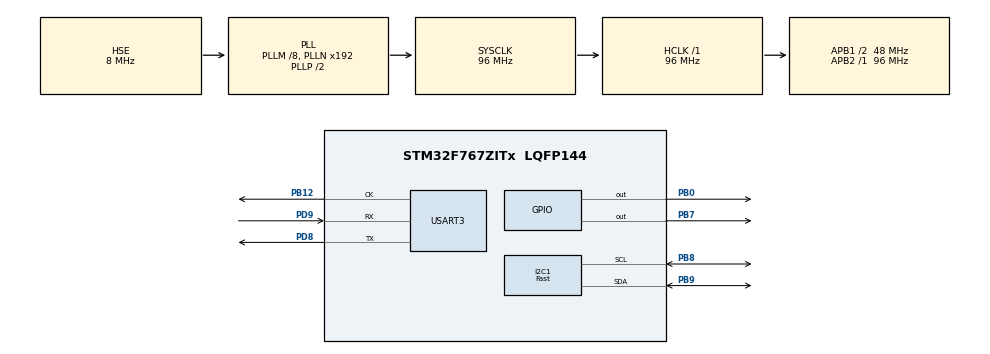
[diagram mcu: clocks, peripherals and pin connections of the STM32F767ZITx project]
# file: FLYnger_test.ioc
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I2C1.I2C_Speed_Mode=I2C_Fast
I2C1.Timing=0x2010091A
Mcu.Family=STM32F7
Mcu.Name=STM32F767ZITx
Mcu.Package=LQFP144
NVIC.PriorityGroup=NVIC_PRIORITYGROUP_4
PB0.Signal=GPIO_Output
PB12.Mode=Synchronous
PB12.Signal=USART3_CK
PB7.Signal=GPIO_Output
PB8.Mode=I2C
PB8.Signal=I2C1_SCL
PB9.Mode=I2C
PB9.Signal=I2C1_SDA
PC14/OSC32_IN.Mode=LSE-External-Oscillator
PC14/OSC32_IN.Signal=RCC_OSC32_IN
PC15/OSC32_OUT.Mode=LSE-External-Oscillator
PC15/OSC32_OUT.Signal=RCC_OSC32_OUT
PD8.Mode=Synchronous
PD8.Signal=USART3_TX
PD9.Mode=Synchronous
PD9.Signal=USART3_RX
PH0/OSC_IN.Mode=HSE-External-Clock-Source
PH0/OSC_IN.Signal=RCC_OSC_IN
PH1/OSC_OUT.Mode=HSE-External-Clock-Source
PH1/OSC_OUT.Signal=RCC_OSC_OUT
ProjectManager.HeapSize=0x200
ProjectManager.StackSize=0x400
ProjectManager.TargetToolchain=STM32CubeIDE
RCC.AHBFreq_Value=96000000
RCC.APB1CLKDivider=RCC_HCLK_DIV2
RCC.APB1Freq_Value=48000000
RCC.APB1TimFreq_Value=96000000
RCC.APB2Freq_Value=96000000
RCC.APB2TimFreq_Value=96000000
RCC.CortexFreq_Value=96000000
RCC.HCLKFreq_Value=96000000
RCC.HSE_VALUE=8000000
RCC.HSI_VALUE=16000000
RCC.PLLM=8
RCC.PLLQ=4
RCC.PLLSAIP=RCC_PLLSAIP_DIV4
RCC.PLLSourceVirtual=RCC_PLLSOURCE_HSE
RCC.SYSCLKFreq_VALUE=96000000
RCC.SYSCLKSource=RCC_SYSCLKSOURCE_PLLCLK
RCC.USBFreq_Value=48000000
RCC.VCOOutputFreq_Value=192000000
TIM1.Period=65000
TIM1.Prescaler=96
USART3.VirtualMode-Synchronous=VM_SYNC
VP_TIM1_VS_ClockSourceINT.Mode=Internal
board=custom

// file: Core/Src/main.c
/* USER CODE BEGIN Header */
/**
  ******************************************************************************
  * @file           : main.c
  * @brief          : Main program body
  ******************************************************************************
  * @attention
  *
  * <h2><center>&copy; Copyright (c) 2020 STMicroelectronics.
  * All rights reserved.</center></h2>
  *
  * This software component is licensed by ST under BSD 3-Clause license,
  * the "License"; You may not use this file except in compliance with the
  * License. You may obtain a copy of the License at:
  *                        opensource.org/licenses/BSD-3-Clause
  *
  ******************************************************************************
  */

//CODICE USATO PER ESTRARRE DATI DA UN SENSORE I2C (GIROSCOPIO)

/* USER CODE END Header */

#include "main.h"

/* USER CODE BEGIN Includes */
#include <string.h> // per riconoscere le funzioni sulle stringhe
#include <stdio.h>
/* USER CODE END Includes */

I2C_HandleTypeDef hi2c1;

USART_HandleTypeDef husart3;

/* USER CODE BEGIN PV */

//Indirizzo del sensore inerziale 9-axis BMX160
static const uint8_t BMX160Address=0x68<<1; //lo shift a destra serve per lasciare spazio al bit di READ/WRITE
static const uint8_t GyroDataRegister[6]={0x0C, 0x0D, 0x0E, 0x0F, 0x10, 0x11}; //i sei registri di dati vanno da LSB a MSB da X a Z
static const uint8_t GyroConfRegister=0x42; //registro di configurazione del giroscopio
static const uint8_t AccConfRegister=0x40; //registro di configurazione dell' accelerometro
static const uint8_t CMD=0x7E; //Power modes register
//static const uint8_t GyroRangeRegister=0x43; //registro di configurazione del range del giroscopio

//Constants utilities
static const float k_toLPFprevSamp_Data=0.5333; //constant to LPF previous sample data
static const float k_toRaw_Data=0.2334; //constant to raw data for filter

/* USER CODE END PV */

void SystemClock_Config(void);
static void MX_GPIO_Init(void);
static void MX_USART3_Init(void);
static void MX_I2C1_Init(void);
static void MX_TIM1_Init(void);

int main(void)
{
  /* USER CODE BEGIN 1 */

	//Inizializzazione di una variabile ret che detenga il valore di ritorno delle funzioni di trasmissione e ricezione per controllo
	HAL_StatusTypeDef ret;

	//Variabil dal giroscopio
	uint8_t BMX_buff[12];//sono 12 byte: da LSB a MSB da X a Z SIA DI GYRO CHE DI ACC

	int16_t Gyr_Data[3]; //variabile con segno dove vengono salvati  dati completi a 16 bit del giroscopio

	float Omega[3];//3 componenti di velocità angolare con segno in virgola mobile
	float Omega_1[3]={0, 0, 0};// dato raw al sample precedente
	float OmegaLPF[3];//dato filtrato sample attuale
	float OmegaLPF_1[3]={0, 0, 0};//dato filtrato sample precedente
	float Gyr_cal[3]={0, 0, 0}; //Three constant evaluated in every start up to calibrate the gyro
	uint16_t i_gyro_cal; //initialize a counter i for cycles

    //Variabili dell'accelerometro
	int16_t Acc_Data[3]; //variabile con segno dove vengono salvati  dati completi a 16 bit del giroscopio

	float Acc[3];//3 componenti di velocità angolare con segno in virgola mobile |||| dato raw al sample attuale
	float Acc_1[3]={0, 0, 0};// dato raw al sample precedente
	float AccLPF[3];//dato filtrato sample attuale
	float AccLPF_1[3]={0, 0, 0};//dato filtrato sample precedente
	float Acc_cal[3]={0, 0, 0}; //Three constant evaluated in every start up to calibrate the gyro

	float BMX_Tx_LPF_buff[6]; //buffer to store Gyro and ACC values to send via usart
	//type casting for this variable will be executed in the Uart TX function only on the pointer, so to maitain the bit sequence iltere by the software

	uint16_t counter = 1; //Counter to toggle the led in functioning
	uint8_t i; //generic counter utility for loops in code

	uint8_t buff[32];

  /* USER CODE END 1 */

  /* MCU Configuration--------------------------------------------------------*/

  /* Reset of all peripherals, Initializes the Flash interface and the Systick. */
  HAL_Init();

  /* Configure the system clock */
  SystemClock_Config();

  /* Initialize all configured peripherals */
  MX_GPIO_Init();
  MX_USART3_Init();
  MX_I2C1_Init();
  MX_TIM1_Init();
  /* USER CODE BEGIN 2 */

  /* LED EXPLANATION
   * # GREEN LED SOLID: initialization and calibration status;
   * # BLUE LED BLINKIING (1 Hz): normal runtime of control loop.
   */

  HAL_GPIO_TogglePin(GPIOB, GPIO_PIN_0); //turn on green LED for the initialization

  HAL_Delay(10);

  /*######### BMX160 CONFIGURATION##########*/

    //codice per inizializzare e configurare il giroscopio
	buff[0]=GyroConfRegister;//invio l'indirizzo del configuratore del giroscopio
	buff[1]=0b00011100;//set the Gyro conf register (see the red notebook page 10)
	HAL_I2C_Master_Transmit(&hi2c1, BMX160Address, buff, 2, HAL_MAX_DELAY);

	//codice per inizializzare e configurare l'accelerometro
	buff[0]=AccConfRegister;//invio l'indirizzo del configuratore dell' accelerometro
	buff[1]=0b00101100;//set the Acc conf register
	ret = HAL_I2C_Master_Transmit(&hi2c1, BMX160Address, buff, 2, HAL_MAX_DELAY);

	//codice per configurare il range dell'accelerometro
	buff[0]=0x41;//invio l'indirizzo del configuratore del range
	buff[1]=0b00001000;//set the Acc range register (see the red notebook appropriate page)
	ret = HAL_I2C_Master_Transmit(&hi2c1, BMX160Address, buff, 2, HAL_MAX_DELAY);

    HAL_Delay(800);

	//change the power mode to normal for the gyro
	buff[0]=CMD;
    buff[1]=0x15;//command for normal mode for gyro;
	HAL_I2C_Master_Transmit(&hi2c1, BMX160Address, buff, 2, HAL_MAX_DELAY);

	//change the power mode to normal for the Acc see appropriate page of the notebook
	buff[0]=CMD;
	buff[1]=0x11;//command for normal mode for accelerometer;
	ret = HAL_I2C_Master_Transmit(&hi2c1, BMX160Address, buff, 2, HAL_MAX_DELAY);

	/*###########us timer enabling (counter)#############*/

	LL_TIM_EnableCounter(TIM1); //func to enable the counter based on TIM1 with microseconds tick
	LL_TIM_SetCounter(TIM1,0);  //func to set set counter to 0value

	HAL_Delay(1000);

	/* ###### BMX CALIBRATION #######
	 *
	 * Calibration is performed polling data for 1000 times
	 *  with 1ms sample time: then an average value is
	 *  calculated and subtracted to the non filtered measures
	 *  taken during functioning
	 *
	 */

	for (i_gyro_cal=0; i_gyro_cal<1000; i_gyro_cal++) {

		LL_TIM_SetCounter(TIM1,0);

		buff[0]=GyroDataRegister[0];
		  HAL_I2C_Master_Transmit(&hi2c1, BMX160Address, buff, 1, HAL_MAX_DELAY); //transmitting 1 byte with the register of the LSBx
		  HAL_I2C_Master_Receive(&hi2c1, BMX160Address, BMX_buff, 12, HAL_MAX_DELAY);// looking for the data bytes asked

		  //GYRO CALIBRATION

		  Gyr_Data[0]=((int16_t)BMX_buff[1]) << 8 | (BMX_buff[0]);  //X Raw (signed int)

		  Gyr_Data[1]=((int16_t)BMX_buff[3]) << 8 | (BMX_buff[2]);  //Y Raw

		  Gyr_Data[2]=((int16_t)BMX_buff[5]) << 8 | (BMX_buff[4]);  //Z Raw

		  Omega[0]=(float)Gyr_Data[0] * 0.0610351562;  //obtaining data dividing for MAX signed value and multiplying for the scale
		  Omega[1]=(float)Gyr_Data[1] * 0.0610351562;
		  Omega[2]=(float)Gyr_Data[2] * 0.0610351562;

		  Gyr_cal[0] += Omega[0];
		  Gyr_cal[1] += Omega[1];
		  Gyr_cal[2] += Omega[2];

		  //ACCELEROMETER

		  Acc_Data[0]=((int16_t)BMX_buff[7]) << 8 | (BMX_buff[6]); //same as gyro

		  Acc_Data[1]=((int16_t)BMX_buff[9]) << 8 | (BMX_buff[8]);

		  Acc_Data[2]=((int16_t)BMX_buff[11]) << 8 | (BMX_buff[10]);

		  Acc[0]= (float)Acc_Data[0] * 8 / 32768; //Conversion=8/32768 to obtain data in g
		  Acc[1]= (float)Acc_Data[1] * 8 / 32768;
		  Acc[2]= (float)Acc_Data[2] * 8 / 32768 - 1; //added 1 because the z axis detect the 1 g gravity acceleration but calibration is done on the errors

		  Acc_cal[0] += Acc[0];
		  Acc_cal[1] += Acc[1];
		  Acc_cal[2] += Acc[2];

		  while (LL_TIM_GetCounter(TIM1)<1000)	{

		  }

	}

	Gyr_cal[0] = Gyr_cal[0]/1000;
	Gyr_cal[1] = Gyr_cal[1]/1000;
	Gyr_cal[2] = Gyr_cal[2]/1000;

	Acc_cal[0] = Acc_cal[0]/1000;
    Acc_cal[1] = Acc_cal[1]/1000;
    Acc_cal[2] = Acc_cal[2]/1000;

    //END OF CONFIGURATION AND SETUP

	HAL_GPIO_TogglePin(GPIOB, GPIO_PIN_0); //turn off green LED

	HAL_GPIO_TogglePin(GPIOB, GPIO_PIN_7);//Toggle pinB7 to see it blink every second blue LED

  /* USER CODE END 2 */

  /* Infinite loop */
  /* USER CODE BEGIN WHILE */
  while (1)
  {

	  LL_TIM_SetCounter(TIM1,0); //us counter set

	  //blue LED blinking control (toggle every second) ###### counter>1/sampleTime
	  if(counter>100){

		  counter=1;

		  HAL_GPIO_TogglePin(GPIOB, GPIO_PIN_7);//Toggle pinB7 to see it blink every second

	  }

	  /*#################################
	   * GYRO DATA ACQUISITION AND ELABORATION
	   * 1) Get raw data and store in Gyro buffer;
	   * 2) Composition of the 2byte data and scaling to obtain deg/s (or g for accelerometer) float (32 bits) number;
	   * 3) Filtering the float data via a discrete LPF (sample time and c.o. freq. specified below);
	   * 4) Data utilization.
	   ##################################*/

	  //first is sent the bmx address with the register of the first data
	  buff[0]=GyroDataRegister[0];
	  HAL_I2C_Master_Transmit(&hi2c1, BMX160Address, buff, 1, HAL_MAX_DELAY); //transmitting 1 byte with the register of the LSBx
	  HAL_I2C_Master_Receive(&hi2c1, BMX160Address, BMX_buff, 12, HAL_MAX_DELAY);// looking for the data bytes asked

	  /* BMX_buff[0]=buff[0]; //X-LSB
	  BMX_buff[1]; //X-MSB
	  BMX_buff[2]; //Y-LSB
	  BMX_buff[3]; //Y-MSB
	  BMX_buff[4]; //Z-LSB
	  BMX_buff[5]; //Z-MSB */

	  /*This function take all the registers of the gyro just asking for the first one
	   * because the gyro automatically switch to next data register and send its content
	   * if it receives an ACK from master in Rx mode. Here the master sends the address and
	   * the first data register and ACK the next 6 bytes so the gyro continues to send data*/

	  //dividing the bytes

	  //now let's do the conversion to get a data in degrees per second

	  Gyr_Data[0]=((int16_t)BMX_buff[1]) << 8 | (BMX_buff[0]);  //X Raw (signed int)

	  Gyr_Data[1]=((int16_t)BMX_buff[3]) << 8 | (BMX_buff[2]);  //Y Raw

	  Gyr_Data[2]=((int16_t)BMX_buff[5]) << 8 | (BMX_buff[4]);  //Z Raw

	  Omega[0]=((float)Gyr_Data[0] * 0.0610351562) - Gyr_cal[0];  //obtaining data dividing for MAX signed value and multiplying for the scale
	  Omega[1]=((float)Gyr_Data[1] * 0.0610351562) - Gyr_cal[1];
	  Omega[2]=((float)Gyr_Data[2] * 0.0610351562) - Gyr_cal[2];

	  /*LPF specs:
	   * 1) Sample time Ts=0.01s (10 ms);
	   * 2) Cut off frequency selected is 10 Hz.
	   */

	  OmegaLPF[0]= k_toLPFprevSamp_Data * OmegaLPF_1[0] + k_toRaw_Data * (Omega[0] + Omega_1[0]); //LPFed data by discrete function see notebook p 11
      OmegaLPF[1]= k_toLPFprevSamp_Data * OmegaLPF_1[1] + k_toRaw_Data * (Omega[1] + Omega_1[1]);
	  OmegaLPF[2]= k_toLPFprevSamp_Data * OmegaLPF_1[2] + k_toRaw_Data * (Omega[2] + Omega_1[2]);

	  //COLLECTING DATA FOR ACCELEROMETER

	  Acc_Data[0]=((int16_t)BMX_buff[7]) << 8 | (BMX_buff[6]); //same as gyro

	  Acc_Data[1]=((int16_t)BMX_buff[9]) << 8 | (BMX_buff[8]);

	  Acc_Data[2]=((int16_t)BMX_buff[11]) << 8 | (BMX_buff[10]);

	  Acc[0]= (float)Acc_Data[0] * 8 / 32768 - Acc_cal[0]; //Conversion=8/32768 and also subtrating calibration data
	  Acc[1]= (float)Acc_Data[1] * 8 / 32768 - Acc_cal[1]; //Conversion is done to obtain data in g unit (1g=9.81 m/s^2)
	  Acc[2]= (float)Acc_Data[2] * 8 / 32768 - Acc_cal[2];

	  //ACCELEROMETER FILTER (SAME AS GYRO)
	  AccLPF[0]= k_toLPFprevSamp_Data * AccLPF_1[0] + k_toRaw_Data * (Acc[0] + Acc_1[0]); //LPFed data by discrete function see notebook p 11
	  AccLPF[1]= k_toLPFprevSamp_Data * AccLPF_1[1] + k_toRaw_Data * (Acc[1] + Acc_1[1]);
	  AccLPF[2]= k_toLPFprevSamp_Data * AccLPF_1[2] + k_toRaw_Data * (Acc[2] + Acc_1[2]);

	  //sending data to check the filtering on matlab: data is sent raw from gyro buff and elaborated on the reciever machine

	  //HAL_USART_Transmit(&husart3, BMX_buff, 12, HAL_MAX_DELAY); //transmit via serial port first 12 bytes in BMX_buff to operate on MATLAB

	  //loop to fill the BMX filtered data
	  for (i=0; i<6; i++) {
		  if (i<3)
			  *(BMX_Tx_LPF_buff+i) = *(OmegaLPF+i);
		  else
			  *(BMX_Tx_LPF_buff+i) = *(AccLPF+i-3);
	  }

	  HAL_USART_Transmit(&husart3, (uint8_t*)BMX_Tx_LPF_buff, 24, HAL_MAX_DELAY); // Tx 12 bytes of GYRO and 12 bytes ACC filtered->float number directly transmitted

	  //Refreshing of Gyro data store (data at preceding sample must be used before this passage)

	  Omega_1[0]=Omega[0];
	  Omega_1[1]=Omega[1];
	  Omega_1[2]=Omega[2];

	  OmegaLPF_1[0]=OmegaLPF[0];
	  OmegaLPF_1[1]=OmegaLPF[1];
	  OmegaLPF_1[2]=OmegaLPF[2];

	  Acc_1[0]=Acc[0];
	  Acc_1[1]=Acc[1];
	  Acc_1[2]=Acc[2];

	  AccLPF_1[0]=AccLPF[0];
	  AccLPF_1[1]=AccLPF[1];
	  AccLPF_1[2]=AccLPF[2];

	  counter=counter+1;//update the counter value

	  //Function to create the 10ms loop

	  while( LL_TIM_GetCounter(TIM1)<10000){

	  	  }

    /* USER CODE END WHILE */

  }
}

void SystemClock_Config(void)
{
  RCC_OscInitTypeDef RCC_OscInitStruct = {0};
  RCC_ClkInitTypeDef RCC_ClkInitStruct = {0};
  RCC_PeriphCLKInitTypeDef PeriphClkInitStruct = {0};

  /** Configure LSE Drive Capability
  */
  HAL_PWR_EnableBkUpAccess();
  /** Configure the main internal regulator output voltage
  */
  __HAL_RCC_PWR_CLK_ENABLE();
  __HAL_PWR_VOLTAGESCALING_CONFIG(PWR_REGULATOR_VOLTAGE_SCALE3);
  /** Initializes the CPU, AHB and APB busses clocks
  */
  RCC_OscInitStruct.OscillatorType = RCC_OSCILLATORTYPE_HSE;
  RCC_OscInitStruct.HSEState = RCC_HSE_BYPASS;
  RCC_OscInitStruct.PLL.PLLState = RCC_PLL_ON;
  RCC_OscInitStruct.PLL.PLLSource = RCC_PLLSOURCE_HSE;
  RCC_OscInitStruct.PLL.PLLM = 8;
  RCC_OscInitStruct.PLL.PLLN = 192;
  RCC_OscInitStruct.PLL.PLLP = RCC_PLLP_DIV2;
  RCC_OscInitStruct.PLL.PLLQ = 4;
  if (HAL_RCC_OscConfig(&RCC_OscInitStruct) != HAL_OK)
  {
    Error_Handler();
  }
  /** Activate the Over-Drive mode
  */
  if (HAL_PWREx_EnableOverDrive() != HAL_OK)
  {
    Error_Handler();
  }
  /** Initializes the CPU, AHB and APB busses clocks
  */
  RCC_ClkInitStruct.ClockType = RCC_CLOCKTYPE_HCLK|RCC_CLOCKTYPE_SYSCLK
                              |RCC_CLOCKTYPE_PCLK1|RCC_CLOCKTYPE_PCLK2;
  RCC_ClkInitStruct.SYSCLKSource = RCC_SYSCLKSOURCE_PLLCLK;
  RCC_ClkInitStruct.AHBCLKDivider = RCC_SYSCLK_DIV1;
  RCC_ClkInitStruct.APB1CLKDivider = RCC_HCLK_DIV2;
  RCC_ClkInitStruct.APB2CLKDivider = RCC_HCLK_DIV1;

  if (HAL_RCC_ClockConfig(&RCC_ClkInitStruct, FLASH_LATENCY_3) != HAL_OK)
  {
    Error_Handler();
  }
  PeriphClkInitStruct.PeriphClockSelection = RCC_PERIPHCLK_USART3|RCC_PERIPHCLK_I2C1;
  PeriphClkInitStruct.Usart3ClockSelection = RCC_USART3CLKSOURCE_PCLK1;
  PeriphClkInitStruct.I2c1ClockSelection = RCC_I2C1CLKSOURCE_PCLK1;
  if (HAL_RCCEx_PeriphCLKConfig(&PeriphClkInitStruct) != HAL_OK)
  {
    Error_Handler();
  }
}

static void MX_I2C1_Init(void)
{

  hi2c1.Instance = I2C1;
  hi2c1.Init.Timing = 0x2010091A;
  hi2c1.Init.OwnAddress1 = 0;
  hi2c1.Init.AddressingMode = I2C_ADDRESSINGMODE_7BIT;
  hi2c1.Init.DualAddressMode = I2C_DUALADDRESS_DISABLE;
  hi2c1.Init.OwnAddress2 = 0;
  hi2c1.Init.OwnAddress2Masks = I2C_OA2_NOMASK;
  hi2c1.Init.GeneralCallMode = I2C_GENERALCALL_DISABLE;
  hi2c1.Init.NoStretchMode = I2C_NOSTRETCH_DISABLE;
  if (HAL_I2C_Init(&hi2c1) != HAL_OK)
  {
    Error_Handler();
  }
  /** Configure Analogue filter
  */
  if (HAL_I2CEx_ConfigAnalogFilter(&hi2c1, I2C_ANALOGFILTER_ENABLE) != HAL_OK)
  {
    Error_Handler();
  }
  /** Configure Digital filter
  */
  if (HAL_I2CEx_ConfigDigitalFilter(&hi2c1, 0) != HAL_OK)
  {
    Error_Handler();
  }

}

static void MX_TIM1_Init(void)
{

  LL_TIM_InitTypeDef TIM_InitStruct = {0};

  /* Peripheral clock enable */
  LL_APB2_GRP1_EnableClock(LL_APB2_GRP1_PERIPH_TIM1);

  TIM_InitStruct.Prescaler = 96;
  TIM_InitStruct.CounterMode = LL_TIM_COUNTERMODE_UP;
  TIM_InitStruct.Autoreload = 65000;
  TIM_InitStruct.ClockDivision = LL_TIM_CLOCKDIVISION_DIV1;
  TIM_InitStruct.RepetitionCounter = 0;
  LL_TIM_Init(TIM1, &TIM_InitStruct);
  LL_TIM_DisableARRPreload(TIM1);
  LL_TIM_SetClockSource(TIM1, LL_TIM_CLOCKSOURCE_INTERNAL);
  LL_TIM_SetTriggerOutput(TIM1, LL_TIM_TRGO_RESET);
  LL_TIM_SetTriggerOutput2(TIM1, LL_TIM_TRGO2_RESET);
  LL_TIM_DisableMasterSlaveMode(TIM1);

}

static void MX_USART3_Init(void)
{

  husart3.Instance = USART3;
  husart3.Init.BaudRate = 115200;
  husart3.Init.WordLength = USART_WORDLENGTH_8B;
  husart3.Init.StopBits = USART_STOPBITS_1;
  husart3.Init.Parity = USART_PARITY_NONE;
  husart3.Init.Mode = USART_MODE_TX_RX;
  husart3.Init.CLKPolarity = USART_POLARITY_LOW;
  husart3.Init.CLKPhase = USART_PHASE_1EDGE;
  husart3.Init.CLKLastBit = USART_LASTBIT_DISABLE;
  if (HAL_USART_Init(&husart3) != HAL_OK)
  {
    Error_Handler();
  }

}

static void MX_GPIO_Init(void)
{
  GPIO_InitTypeDef GPIO_InitStruct = {0};

  /* GPIO Ports Clock Enable */
  __HAL_RCC_GPIOC_CLK_ENABLE();
  __HAL_RCC_GPIOH_CLK_ENABLE();
  __HAL_RCC_GPIOB_CLK_ENABLE();
  __HAL_RCC_GPIOD_CLK_ENABLE();

  /*Configure GPIO pin Output Level */
  HAL_GPIO_WritePin(GPIOB, GPIO_PIN_0|GPIO_PIN_7, GPIO_PIN_RESET);

  /*Configure GPIO pins : PB0 PB7 */
  GPIO_InitStruct.Pin = GPIO_PIN_0|GPIO_PIN_7;
  GPIO_InitStruct.Mode = GPIO_MODE_OUTPUT_PP;
  GPIO_InitStruct.Pull = GPIO_NOPULL;
  GPIO_InitStruct.Speed = GPIO_SPEED_FREQ_LOW;
  HAL_GPIO_Init(GPIOB, &GPIO_InitStruct);

}

void Error_Handler(void)
{
}

/************************ (C) COPYRIGHT STMicroelectronics *****END OF FILE****/
